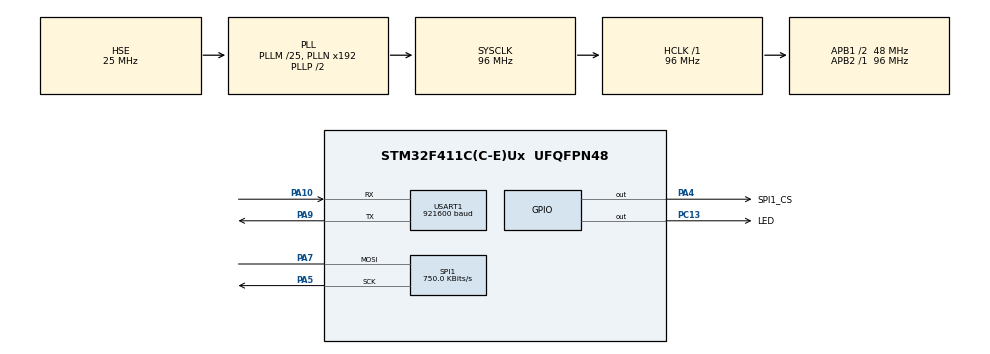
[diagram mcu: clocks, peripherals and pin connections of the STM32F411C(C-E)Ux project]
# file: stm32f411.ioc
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Mcu.Family=STM32F4
Mcu.Name=STM32F411C(C-E)Ux
Mcu.Package=UFQFPN48
NVIC.PriorityGroup=NVIC_PRIORITYGROUP_4
NVIC.TIM1_BRK_TIM9_IRQn=true\:0\:0\:false\:false\:true\:true\:true\:true
PA10.Mode=Asynchronous
PA10.Signal=USART1_RX
PA13.Mode=Serial_Wire
PA13.Signal=SYS_JTMS-SWDIO
PA14.Mode=Serial_Wire
PA14.Signal=SYS_JTCK-SWCLK
PA4.GPIO_Label=SPI1_CS
PA4.Signal=GPIO_Output
PA5.Mode=Simplex_Bidirectional_Master
PA5.Signal=SPI1_SCK
PA7.Mode=Simplex_Bidirectional_Master
PA7.Signal=SPI1_MOSI
PA9.Mode=Asynchronous
PA9.Signal=USART1_TX
PC13-ANTI_TAMP.GPIO_Label=LED
PC13-ANTI_TAMP.GPIO_ModeDefaultOutputPP=GPIO_MODE_OUTPUT_OD
PC13-ANTI_TAMP.GPIO_PuPd=GPIO_NOPULL
PC13-ANTI_TAMP.PinState=GPIO_PIN_SET
PC13-ANTI_TAMP.Signal=GPIO_Output
PH0\ -\ OSC_IN.Mode=HSE-External-Oscillator
PH0\ -\ OSC_IN.Signal=RCC_OSC_IN
PH1\ -\ OSC_OUT.Mode=HSE-External-Oscillator
PH1\ -\ OSC_OUT.Signal=RCC_OSC_OUT
ProjectManager.HeapSize=0x200
ProjectManager.StackSize=0x400
ProjectManager.TargetToolchain=STM32CubeIDE
RCC.48MHZClocksFreq_Value=48000000
RCC.AHBFreq_Value=96000000
RCC.APB1CLKDivider=RCC_HCLK_DIV2
RCC.APB1Freq_Value=48000000
RCC.APB1TimFreq_Value=96000000
RCC.APB2Freq_Value=96000000
RCC.APB2TimFreq_Value=96000000
RCC.CortexFreq_Value=96000000
RCC.HCLKFreq_Value=96000000
RCC.HSE_VALUE=25000000
RCC.HSI_VALUE=16000000
RCC.LSE_VALUE=32768
RCC.PLLM=25
RCC.PLLSourceVirtual=RCC_PLLSOURCE_HSE
RCC.SYSCLKFreq_VALUE=96000000
RCC.SYSCLKSource=RCC_SYSCLKSOURCE_PLLCLK
RCC.VCOOutputFreq_Value=192000000
SPI1.BaudRatePrescaler=SPI_BAUDRATEPRESCALER_128
SPI1.CalculateBaudRate=750.0 KBits/s
SPI1.Direction=SPI_DIRECTION_1LINE
SPI1.Mode=SPI_MODE_MASTER
SPI1.VirtualType=VM_MASTER
TIM9.AutoReloadPreload=TIM_AUTORELOAD_PRELOAD_ENABLE
TIM9.Period=9999
TIM9.Prescaler=95
USART1.BaudRate=921600
USART1.VirtualMode=VM_ASYNC
VP_TIM9_VS_ClockSourceINT.Mode=Internal
board=custom

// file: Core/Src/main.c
/* USER CODE BEGIN Header */
/**
  ******************************************************************************
  * @file           : main.c
  * @brief          : Main program body
  ******************************************************************************
  * @attention
  *
  * Copyright (c) 2022 STMicroelectronics.
  * All rights reserved.
  *
  * This software is licensed under terms that can be found in the LICENSE file
  * in the root directory of this software component.
  * If no LICENSE file comes with this software, it is provided AS-IS.
  *
  ******************************************************************************
  */
/* USER CODE END Header */
#include "main.h"

/* USER CODE BEGIN Includes */

#include <stdio.h>

#include "tm1638.h"

/* USER CODE END Includes */

 SPI_HandleTypeDef hspi1;

TIM_HandleTypeDef htim9;

UART_HandleTypeDef huart1;

/* USER CODE BEGIN PV */

Tm1638_HandleTypeDef tm1638;

uint32_t interrupt_count = 0;
/* USER CODE END PV */

void SystemClock_Config(void);
static void MX_GPIO_Init(void);
static void MX_USART1_UART_Init(void);
static void MX_TIM9_Init(void);
static void MX_SPI1_Init(void);

/* USER CODE BEGIN 0 */

// Send printf to uart1
int _write(int fd, char* ptr, int len) {
  HAL_StatusTypeDef hstatus;

  if (fd == 1 || fd == 2) {
    hstatus = HAL_UART_Transmit(&huart1, (uint8_t *) ptr, len, HAL_MAX_DELAY);
    if (hstatus == HAL_OK)
      return len;
    else
      return -1;
  }
  return -1;
}

/* USER CODE END 0 */

int main(void)
{

  /* MCU Configuration--------------------------------------------------------*/

  /* Reset of all peripherals, Initializes the Flash interface and the Systick. */
  HAL_Init();

  /* Configure the system clock */
  SystemClock_Config();

  /* Initialize all configured peripherals */
  MX_GPIO_Init();
  MX_USART1_UART_Init();
  MX_TIM9_Init();
  MX_SPI1_Init();
  /* USER CODE BEGIN 2 */

  HAL_TIM_Base_Start_IT(&htim9);

  DBG("MCU and Peripherals has been initialised");

  if (tm1638_init(&tm1638, &hspi1, SPI1_CS_GPIO_Port, SPI1_CS_Pin) != Tm1638_Ok) {
	  Error_Handler();
  }

  /* USER CODE END 2 */

  /* Infinite loop */
  /* USER CODE BEGIN WHILE */

  uint32_t now = 0, last_blink = 0, last_print = 0;

  while (1)
  {

	  now = HAL_GetTick();

	  if (now - last_blink >= 500) {
		  HAL_GPIO_TogglePin(LED_GPIO_Port, LED_Pin);
		  last_blink = now;
	  }

	  if (now - last_print >= 1000) {
		  DBG("Tick %lu", now / 1000);
		  last_print = now;
	  }

    /* USER CODE END WHILE */

  }
}

void SystemClock_Config(void)
{
  RCC_OscInitTypeDef RCC_OscInitStruct = {0};
  RCC_ClkInitTypeDef RCC_ClkInitStruct = {0};

  /** Configure the main internal regulator output voltage
  */
  __HAL_RCC_PWR_CLK_ENABLE();
  __HAL_PWR_VOLTAGESCALING_CONFIG(PWR_REGULATOR_VOLTAGE_SCALE1);

  /** Initializes the RCC Oscillators according to the specified parameters
  * in the RCC_OscInitTypeDef structure.
  */
  RCC_OscInitStruct.OscillatorType = RCC_OSCILLATORTYPE_HSE;
  RCC_OscInitStruct.HSEState = RCC_HSE_ON;
  RCC_OscInitStruct.PLL.PLLState = RCC_PLL_ON;
  RCC_OscInitStruct.PLL.PLLSource = RCC_PLLSOURCE_HSE;
  RCC_OscInitStruct.PLL.PLLM = 25;
  RCC_OscInitStruct.PLL.PLLN = 192;
  RCC_OscInitStruct.PLL.PLLP = RCC_PLLP_DIV2;
  RCC_OscInitStruct.PLL.PLLQ = 4;
  if (HAL_RCC_OscConfig(&RCC_OscInitStruct) != HAL_OK)
  {
    Error_Handler();
  }

  /** Initializes the CPU, AHB and APB buses clocks
  */
  RCC_ClkInitStruct.ClockType = RCC_CLOCKTYPE_HCLK|RCC_CLOCKTYPE_SYSCLK
                              |RCC_CLOCKTYPE_PCLK1|RCC_CLOCKTYPE_PCLK2;
  RCC_ClkInitStruct.SYSCLKSource = RCC_SYSCLKSOURCE_PLLCLK;
  RCC_ClkInitStruct.AHBCLKDivider = RCC_SYSCLK_DIV1;
  RCC_ClkInitStruct.APB1CLKDivider = RCC_HCLK_DIV2;
  RCC_ClkInitStruct.APB2CLKDivider = RCC_HCLK_DIV1;

  if (HAL_RCC_ClockConfig(&RCC_ClkInitStruct, FLASH_LATENCY_3) != HAL_OK)
  {
    Error_Handler();
  }
}

static void MX_SPI1_Init(void)
{

  /* SPI1 parameter configuration*/
  hspi1.Instance = SPI1;
  hspi1.Init.Mode = SPI_MODE_MASTER;
  hspi1.Init.Direction = SPI_DIRECTION_1LINE;
  hspi1.Init.DataSize = SPI_DATASIZE_8BIT;
  hspi1.Init.CLKPolarity = SPI_POLARITY_LOW;
  hspi1.Init.CLKPhase = SPI_PHASE_1EDGE;
  hspi1.Init.NSS = SPI_NSS_SOFT;
  hspi1.Init.BaudRatePrescaler = SPI_BAUDRATEPRESCALER_128;
  hspi1.Init.FirstBit = SPI_FIRSTBIT_MSB;
  hspi1.Init.TIMode = SPI_TIMODE_DISABLE;
  hspi1.Init.CRCCalculation = SPI_CRCCALCULATION_DISABLE;
  hspi1.Init.CRCPolynomial = 10;
  if (HAL_SPI_Init(&hspi1) != HAL_OK)
  {
    Error_Handler();
  }

}

static void MX_TIM9_Init(void)
{

  TIM_ClockConfigTypeDef sClockSourceConfig = {0};

  htim9.Instance = TIM9;
  htim9.Init.Prescaler = 95;
  htim9.Init.CounterMode = TIM_COUNTERMODE_UP;
  htim9.Init.Period = 9999;
  htim9.Init.ClockDivision = TIM_CLOCKDIVISION_DIV1;
  htim9.Init.AutoReloadPreload = TIM_AUTORELOAD_PRELOAD_ENABLE;
  if (HAL_TIM_Base_Init(&htim9) != HAL_OK)
  {
    Error_Handler();
  }
  sClockSourceConfig.ClockSource = TIM_CLOCKSOURCE_INTERNAL;
  if (HAL_TIM_ConfigClockSource(&htim9, &sClockSourceConfig) != HAL_OK)
  {
    Error_Handler();
  }

}

static void MX_USART1_UART_Init(void)
{

  huart1.Instance = USART1;
  huart1.Init.BaudRate = 921600;
  huart1.Init.WordLength = UART_WORDLENGTH_8B;
  huart1.Init.StopBits = UART_STOPBITS_1;
  huart1.Init.Parity = UART_PARITY_NONE;
  huart1.Init.Mode = UART_MODE_TX_RX;
  huart1.Init.HwFlowCtl = UART_HWCONTROL_NONE;
  huart1.Init.OverSampling = UART_OVERSAMPLING_16;
  if (HAL_UART_Init(&huart1) != HAL_OK)
  {
    Error_Handler();
  }

}

static void MX_GPIO_Init(void)
{
  GPIO_InitTypeDef GPIO_InitStruct = {0};

  /* GPIO Ports Clock Enable */
  __HAL_RCC_GPIOC_CLK_ENABLE();
  __HAL_RCC_GPIOH_CLK_ENABLE();
  __HAL_RCC_GPIOA_CLK_ENABLE();

  /*Configure GPIO pin Output Level */
  HAL_GPIO_WritePin(LED_GPIO_Port, LED_Pin, GPIO_PIN_SET);

  /*Configure GPIO pin Output Level */
  HAL_GPIO_WritePin(SPI1_CS_GPIO_Port, SPI1_CS_Pin, GPIO_PIN_RESET);

  /*Configure GPIO pin : LED_Pin */
  GPIO_InitStruct.Pin = LED_Pin;
  GPIO_InitStruct.Mode = GPIO_MODE_OUTPUT_OD;
  GPIO_InitStruct.Pull = GPIO_NOPULL;
  GPIO_InitStruct.Speed = GPIO_SPEED_FREQ_LOW;
  HAL_GPIO_Init(LED_GPIO_Port, &GPIO_InitStruct);

  /*Configure GPIO pin : SPI1_CS_Pin */
  GPIO_InitStruct.Pin = SPI1_CS_Pin;
  GPIO_InitStruct.Mode = GPIO_MODE_OUTPUT_PP;
  GPIO_InitStruct.Pull = GPIO_NOPULL;
  GPIO_InitStruct.Speed = GPIO_SPEED_FREQ_LOW;
  HAL_GPIO_Init(SPI1_CS_GPIO_Port, &GPIO_InitStruct);

}

void Error_Handler(void)
{
  __disable_irq();
  while (1)
  {
  }
}
